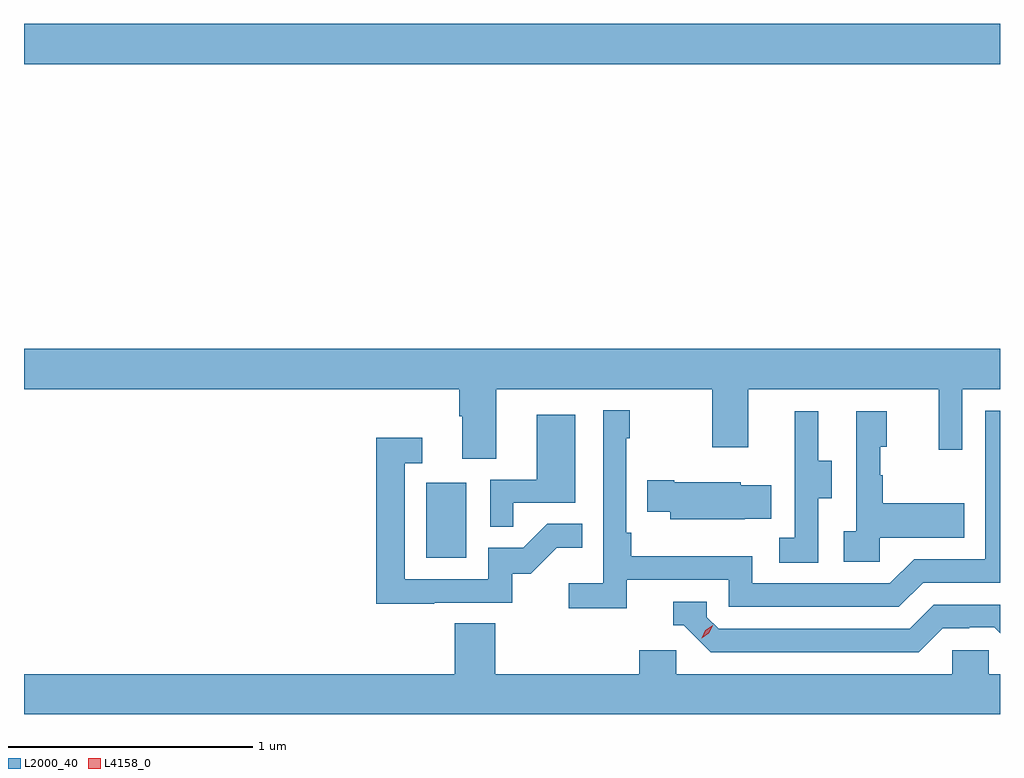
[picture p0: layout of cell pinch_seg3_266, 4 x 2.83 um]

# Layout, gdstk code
import gdstk
lib = gdstk.Library(unit=1e-6, precision=1e-09)
def R(c, l, rs):  # rectangles x0, y0, x1, y1
    for r in rs: c.add(gdstk.rectangle(r[:2], r[2:], *l))
def P(c, l, *ps):  # polygons
    for p in ps: c.add(gdstk.Polygon(p, *l))
L2000_40 = (2000, 40)
L4158_0 = (4158, 0)

pinch_seg3_266 = lib.new_cell('pinch_seg3_266')
R(pinch_seg3_266, L2000_40, [(912.794,709.548,912.958,709.855), (911.145,711.572,915.145,711.736)])
P(pinch_seg3_266, L2000_40, [(913.081,710.24),(913.966,710.24),(913.966,710.001),(914.113,710.001),(914.113,710.24),(914.894,710.24),(914.894,709.992),(914.991,709.992),(914.991,710.24),(915.145,710.24),(915.145,710.404),(911.145,710.404),(911.145,710.24),(912.929,710.24),(912.929,710.128),(912.941,710.128),(912.941,709.954),(913.081,709.954)],
  [(913.616,709.458),(914.034,709.458),(914.034,709.347),(914.731,709.347),(914.83,709.446),(915.145,709.446),(915.145,710.151),(915.084,710.151),(915.084,709.542),(914.793,709.542),(914.694,709.443),(914.13,709.443),(914.13,709.555),(913.634,709.555),(913.634,709.651),(913.614,709.651),(913.614,710.039),(913.627,710.039),(913.627,710.152),(913.518,710.152),(913.518,709.444),(913.377,709.444),(913.377,709.342),(913.616,709.342)],
  [(914.652,709.631),(914.999,709.631),(914.999,709.771),(914.665,709.771),(914.665,709.886),(914.655,709.886),(914.655,710.004),(914.68,710.004),(914.68,710.149),(914.556,710.149),(914.556,709.658),(914.505,709.658),(914.505,709.533),(914.652,709.533)],
  [(914.4,709.792),(914.455,709.792),(914.455,709.947),(914.401,709.947),(914.401,710.149),(914.303,710.149),(914.303,709.935),(914.304,709.935),(914.304,709.631),(914.241,709.631),(914.241,709.528),(914.4,709.528)],
  [(913.151,709.773),(913.405,709.773),(913.405,710.134),(913.247,710.134),(913.247,709.869),(913.056,709.869),(913.056,709.675),(913.151,709.675)],
  [(912.827,709.365),(913.146,709.365),(913.146,709.482),(913.222,709.482),(913.329,709.589),(913.433,709.589),(913.433,709.688),(913.289,709.688),(913.191,709.59),(913.047,709.59),(913.047,709.461),(912.705,709.461),(912.705,709.935),(912.778,709.935),(912.778,710.041),(912.589,710.041),(912.589,709.36),(912.827,709.36)],
  [(914.099,709.709),(914.207,709.709),(914.207,709.846),(914.082,709.846),(914.082,709.858),(913.81,709.858),(913.81,709.866),(913.699,709.866),(913.699,709.736),(913.793,709.736),(913.793,709.706),(914.099,709.706)],
  [(914.911,709.26),(915.018,709.26),(915.018,709.263),(915.121,709.263),(915.145,709.239),(915.145,709.356),(914.874,709.356),(914.775,709.257),(913.992,709.257),(913.944,709.305),(913.944,709.368),(913.805,709.368),(913.805,709.272),(913.848,709.272),(913.959,709.161),(914.812,709.161)],
  [(915.145,709.072),(915.099,709.072),(915.099,709.17),(914.949,709.17),(914.949,709.072),(913.818,709.072),(913.818,709.17),(913.667,709.17),(913.667,709.072),(913.076,709.072),(913.076,709.28),(912.911,709.28),(912.911,709.072),(911.145,709.072),(911.145,708.908),(915.145,708.908)])
P(pinch_seg3_266, L4158_0, [(913.922,709.218),(913.922,709.218),(913.938,709.251),(913.968,709.271),(913.968,709.271),(913.968,709.27),(913.952,709.238),(913.922,709.218)])

lib.write_gds('pinch_seg3_266.gds')
